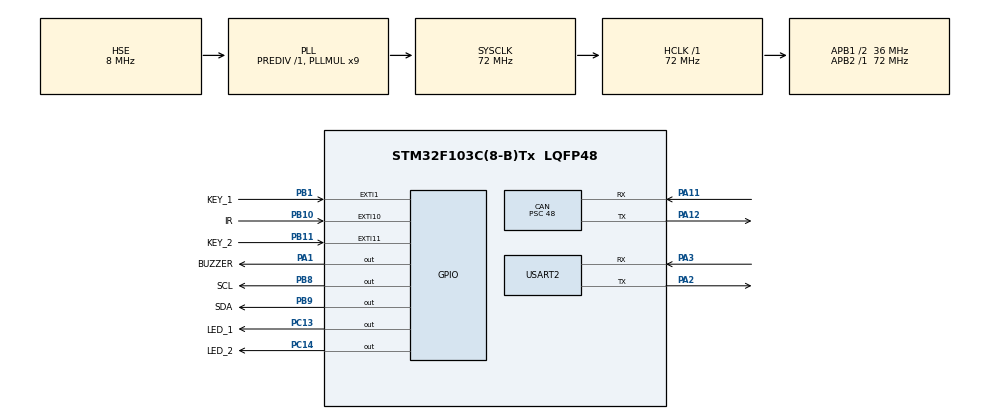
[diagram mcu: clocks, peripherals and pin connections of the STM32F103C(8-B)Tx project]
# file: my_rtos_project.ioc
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CAN.BS1=CAN_BS1_2TQ
CAN.BS2=CAN_BS2_3TQ
CAN.CalculateBaudRate=124999
CAN.CalculateTimeBit=8000
CAN.CalculateTimeQuantum=1333.3333333333335
CAN.Prescaler=48
CAN.SJW=CAN_SJW_2TQ
Mcu.Family=STM32F1
Mcu.Name=STM32F103C(8-B)Tx
Mcu.Package=LQFP48
NVIC.EXTI15_10_IRQn=true\:6\:0\:true\:false\:true\:true\:true\:true
NVIC.EXTI1_IRQn=true\:6\:0\:true\:false\:true\:true\:true\:true
NVIC.PriorityGroup=NVIC_PRIORITYGROUP_4
NVIC.USART2_IRQn=true\:6\:0\:true\:false\:true\:true\:true\:true
PA1.GPIO_Label=BUZZER
PA1.GPIO_ModeDefaultOutputPP=GPIO_MODE_OUTPUT_PP
PA1.GPIO_Speed=GPIO_SPEED_FREQ_HIGH
PA1.PinState=GPIO_PIN_SET
PA1.Signal=GPIO_Output
PA11.Mode=CAN_Activate
PA11.Signal=CAN_RX
PA12.Mode=CAN_Activate
PA12.Signal=CAN_TX
PA13.Mode=Serial_Wire
PA13.Signal=SYS_JTMS-SWDIO
PA14.Mode=Serial_Wire
PA14.Signal=SYS_JTCK-SWCLK
PA2.Mode=Asynchronous
PA2.Signal=USART2_TX
PA3.Mode=Asynchronous
PA3.Signal=USART2_RX
PB1.GPIO_Label=KEY_1
PB1.GPIO_ModeDefaultEXTI=GPIO_MODE_IT_RISING_FALLING
PB1.GPIO_PuPd=GPIO_PULLUP
PB1.Signal=GPXTI1
PB10.GPIO_Label=IR
PB10.GPIO_ModeDefaultEXTI=GPIO_MODE_IT_RISING_FALLING
PB10.GPIO_PuPd=GPIO_NOPULL
PB10.Signal=GPXTI10
PB11.GPIO_Label=KEY_2
PB11.GPIO_ModeDefaultEXTI=GPIO_MODE_IT_RISING_FALLING
PB11.GPIO_PuPd=GPIO_PULLUP
PB11.Signal=GPXTI11
PB8.GPIO_Label=SCL
PB8.GPIO_ModeDefaultOutputPP=GPIO_MODE_OUTPUT_OD
PB8.GPIO_PuPd=GPIO_PULLUP
PB8.GPIO_Speed=GPIO_SPEED_FREQ_HIGH
PB8.PinState=GPIO_PIN_SET
PB8.Signal=GPIO_Output
PB9.GPIO_Label=SDA
PB9.GPIO_ModeDefaultOutputPP=GPIO_MODE_OUTPUT_OD
PB9.GPIO_PuPd=GPIO_PULLUP
PB9.GPIO_Speed=GPIO_SPEED_FREQ_HIGH
PB9.PinState=GPIO_PIN_SET
PB9.Signal=GPIO_Output
PC13-TAMPER-RTC.GPIO_Label=LED_1
PC13-TAMPER-RTC.GPIO_Speed=GPIO_SPEED_FREQ_HIGH
PC13-TAMPER-RTC.PinState=GPIO_PIN_SET
PC13-TAMPER-RTC.Signal=GPIO_Output
PC14-OSC32_IN.GPIO_Label=LED_2
PC14-OSC32_IN.GPIO_Speed=GPIO_SPEED_FREQ_HIGH
PC14-OSC32_IN.PinState=GPIO_PIN_SET
PC14-OSC32_IN.Signal=GPIO_Output
PD0-OSC_IN.Mode=HSE-External-Oscillator
PD0-OSC_IN.Signal=RCC_OSC_IN
PD1-OSC_OUT.Mode=HSE-External-Oscillator
PD1-OSC_OUT.Signal=RCC_OSC_OUT
ProjectManager.HeapSize=0x200
ProjectManager.StackSize=0x400
ProjectManager.TargetToolchain=MDK-ARM V5
RCC.AHBFreq_Value=72000000
RCC.APB1CLKDivider=RCC_HCLK_DIV2
RCC.APB1Freq_Value=36000000
RCC.APB1TimFreq_Value=72000000
RCC.APB2Freq_Value=72000000
RCC.APB2TimFreq_Value=72000000
RCC.HCLKFreq_Value=72000000
RCC.PLLMUL=RCC_PLL_MUL9
RCC.PLLSourceVirtual=RCC_PLLSOURCE_HSE
RCC.SYSCLKFreq_VALUE=72000000
RCC.SYSCLKSource=RCC_SYSCLKSOURCE_PLLCLK
RCC.USBFreq_Value=72000000
USART2.VirtualMode=VM_ASYNC
board=custom

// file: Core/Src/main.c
/* USER CODE BEGIN Header */
/**
  ******************************************************************************
  * @file           : main.c
  * @brief          : Main program body
  ******************************************************************************
  * @attention
  *
  * Copyright (c) 2026 STMicroelectronics.
  * All rights reserved.
  *
  * This software is licensed under terms that can be found in the LICENSE file
  * in the root directory of this software component.
  * If no LICENSE file comes with this software, it is provided AS-IS.
  *
  ******************************************************************************
  */
/* USER CODE END Header */
#include "main.h"
#include "can.h"
#include "usart.h"
#include "gpio.h"

/* USER CODE BEGIN Includes */
#include "LED.h"
#include "Buzzer.h"
#include "Key.h"
#include "IR.h"
#include "OLED.h"
#include "MyCAN.h"
#include "Uart.h"
#include "app/app_led.h"
#include "app/app_oled.h"
#include "app/app_key.h"
#include "app/app_uart.h"
#include "app/app_buzzer.h"
#include "app/app_alarm.h"
#include "app/app_fsm.h"
#include "FreeRTOS.h"
#include "task.h"
#include "semphr.h"
#include "queue.h"
/* USER CODE END Includes */

/* USER CODE BEGIN PV */
SemaphoreHandle_t oled_mutex;
QueueHandle_t     xKeyEventQueue;
TaskHandle_t      LED_TaskHandler;
TaskHandle_t      KEY_TaskHandler;
typedef struct { uint8_t event_id; uint8_t count; } KEY_INFO_T;
#define QueueLength 10
/* USER CODE END PV */

void SystemClock_Config(void);

int main(void)
{

  /* MCU Configuration--------------------------------------------------------*/

  /* Reset of all peripherals, Initializes the Flash interface and the Systick. */
  HAL_Init();

  /* Configure the system clock */
  SystemClock_Config();

  /* USER CODE BEGIN SysInit */
  /* TIM1 的 1ms 时基已由 HAL_RCC_ClockConfig() 自动重新校准，无需额外调用 */
  /* USER CODE END SysInit */

  /* Initialize all configured peripherals */
  MX_GPIO_Init();
  MX_CAN_Init();
  MX_USART2_UART_Init();

  /* USER CODE BEGIN 2 */
  MyCAN_Init();          /* 滤波器配置，CubeMX 没生成 */
  uart_init();           /* 打开接收中断 */
  OLED_Init();
  app_led_init();
  app_buzzer_init();
  app_alarm_init();

  oled_mutex     = xSemaphoreCreateMutex();
  xKeyEventQueue = xQueueCreate(QueueLength, sizeof(KEY_INFO_T));

  xTaskCreate(LED_Task,    "LED_Task",    256, NULL, 1, &LED_TaskHandler);
  xTaskCreate(OLED2_Task,  "OLED_Task",   256, NULL, 1, NULL);
  xTaskCreate(Key_Task,    "KEY_Task",    256, NULL, 1, &KEY_TaskHandler);
  xTaskCreate(UART_Task,   "UART_Task",   384, NULL, 1, NULL);
  xTaskCreate(Alarm_Task,  "Alarm_Task",  384, NULL, 3, NULL);
  xTaskCreate(Buzzer_Task, "Buzzer_Task", 256, NULL, 2, NULL);

  fsm_start_with_simulate(FSM_STATE_IDLE, 10);
  vTaskStartScheduler();
  /* USER CODE END 2 */

  /* Infinite loop */
  while (1)
  {

  }
}

void SystemClock_Config(void)
{
  RCC_OscInitTypeDef RCC_OscInitStruct = {0};
  RCC_ClkInitTypeDef RCC_ClkInitStruct = {0};

  /** Initializes the RCC Oscillators according to the specified parameters
  * in the RCC_OscInitTypeDef structure.
  */
  RCC_OscInitStruct.OscillatorType = RCC_OSCILLATORTYPE_HSE;
  RCC_OscInitStruct.HSEState = RCC_HSE_ON;
  RCC_OscInitStruct.HSEPredivValue = RCC_HSE_PREDIV_DIV1;
  RCC_OscInitStruct.HSIState = RCC_HSI_ON;
  RCC_OscInitStruct.PLL.PLLState = RCC_PLL_ON;
  RCC_OscInitStruct.PLL.PLLSource = RCC_PLLSOURCE_HSE;
  RCC_OscInitStruct.PLL.PLLMUL = RCC_PLL_MUL9;
  if (HAL_RCC_OscConfig(&RCC_OscInitStruct) != HAL_OK)
  {
    Error_Handler();
  }

  /** Initializes the CPU, AHB and APB buses clocks
  */
  RCC_ClkInitStruct.ClockType = RCC_CLOCKTYPE_HCLK|RCC_CLOCKTYPE_SYSCLK
                              |RCC_CLOCKTYPE_PCLK1|RCC_CLOCKTYPE_PCLK2;
  RCC_ClkInitStruct.SYSCLKSource = RCC_SYSCLKSOURCE_PLLCLK;
  RCC_ClkInitStruct.AHBCLKDivider = RCC_SYSCLK_DIV1;
  RCC_ClkInitStruct.APB1CLKDivider = RCC_HCLK_DIV2;
  RCC_ClkInitStruct.APB2CLKDivider = RCC_HCLK_DIV1;

  if (HAL_RCC_ClockConfig(&RCC_ClkInitStruct, FLASH_LATENCY_2) != HAL_OK)
  {
    Error_Handler();
  }
}

/* USER CODE BEGIN 4 */
/**
 * @brief 栈溢出钩子（configCHECK_FOR_STACK_OVERFLOW = 2 时必须实现）
 * @note  刻意只调用 uart_send_string 而不用 uart_printf：
 *        此处栈已被破坏，不能再使用 vsnprintf 这类开销大的函数。
 */
void vApplicationStackOverflowHook(TaskHandle_t xTask, char *pcTaskName)
{
    (void)xTask;
    uart_send_string("\r\n[!!] STACK OVERFLOW: ");
    uart_send_string(pcTaskName);
    uart_send_string("\r\n");
    for (;;)
    {
    }
}
/* USER CODE END 4 */

void Error_Handler(void)
{
  __disable_irq();
  while (1)
  {
  }
}
